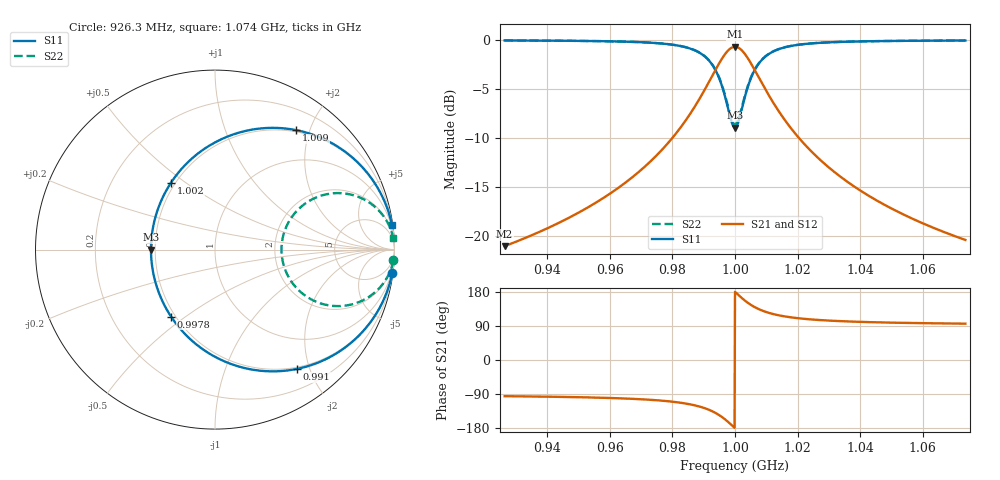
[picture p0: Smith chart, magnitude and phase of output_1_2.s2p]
! File generated for n1 = 1, n2 = 2
! b1 = 100.000000
! b2 = 46.415888
! Q0 = 10000.000000
! f0 = 1000000000.000000
! n = 1001
! rel_span = 10.000000
# Hz S RI R 50
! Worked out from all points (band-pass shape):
!   1001 points, 926.3 MHz to 1.074 GHz, reference 50 ohm
!   highest |S21| = -0.68 dB at 1 GHz (marker M1); lowest = -21.1 dB at 926.3 MHz (marker M2)
!   |S21| within 3 dB of the highest: 992.7 MHz to 1.007 GHz (14.71 MHz wide, 1.47 % of centre)
!   lowest |S11| = -9.0 dB at 1 GHz (marker M3), VSWR 2.11, Z = 23.7 + j0 ohm
!   |S11| at or under -10 dB: nowhere
!   |S22| runs from -8.6 to 0.0 dB; largest |S21 - S12| = 0
!   S11 on the Smith chart (normalised r, x): 926.3 MHz: 0, -15; 991 MHz: 0.47, -1.81; 997.8 MHz: 0.47, -0.44; 1.002 GHz: 0.47, +0.44; 1.009 GHz: 0.47, +1.79; 1.074 GHz: 0, +14
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9.262921e8  0.9876 -0.1293  -0.00847 -0.0881  -0.00847 -0.0881  0.9942 -0.06
9.509105e8  0.9715 -0.1944  -0.0194 -0.1325  -0.0194 -0.1325  0.9868 -0.0902
9.64915e8  0.9446 -0.2685  -0.0377 -0.1829  -0.0377 -0.1829  0.9743 -0.1246
9.75529e8  0.8897 -0.3708  -0.0751 -0.2526  -0.0751 -0.2526  0.9488 -0.1721
9.849636e8  0.7404 -0.5337  -0.1769 -0.3636  -0.1769 -0.3636  0.8795 -0.2477
9.882067e8  0.6222 -0.6082  -0.2574 -0.4143  -0.2574 -0.4143  0.8246 -0.2823
9.910076e8  0.4577 -0.6646  -0.3694 -0.4528  -0.3694 -0.4528  0.7483 -0.3085
9.932189e8  0.2675 -0.6762  -0.499 -0.4607  -0.499 -0.4607  0.66 -0.3139
9.948404e8  0.091 -0.6379  -0.6193 -0.4346  -0.6193 -0.4346  0.5781 -0.2961
9.963146e8  -0.0846 -0.5433  -0.7389 -0.3701  -0.7389 -0.3701  0.4966 -0.2522
9.977888e8  -0.2445 -0.3738  -0.8478 -0.2546  -0.8478 -0.2546  0.4224 -0.1735
1e9  -0.3567 0  -0.9243 0  -0.9243 0  0.3703 0
1.002211e9  -0.2449 0.3731  -0.8481 0.2542  -0.8481 0.2542  0.4222 0.1732
1.003685e9  -0.0862 0.5421  -0.74 0.3693  -0.74 0.3693  0.4958 0.2516
1.00516e9  0.0879 0.6368  -0.6214 0.4339  -0.6214 0.4339  0.5767 0.2956
1.006781e9  0.2629 0.6758  -0.5022 0.4604  -0.5022 0.4604  0.6579 0.3137
1.008992e9  0.4519 0.6657  -0.3734 0.4536  -0.3734 0.4536  0.7456 0.309
1.011793e9  0.6157 0.6113  -0.2618 0.4165  -0.2618 0.4165  0.8216 0.2837
1.015184e9  0.7381 0.5355  -0.1784 0.3648  -0.1784 0.3648  0.8784 0.2485
1.024618e9  0.8859 0.3766  -0.0777 0.2565  -0.0777 0.2565  0.947 0.1748
1.049237e9  0.9688 0.2032  -0.0212 0.1384  -0.0212 0.1384  0.9855 0.0943
1.073708e9  0.9856 0.139  -0.00981 0.0947  -0.00981 0.0947  0.9933 0.0645
